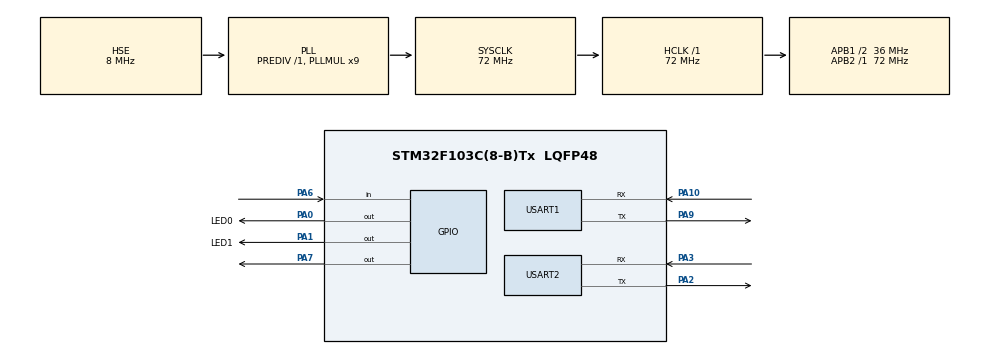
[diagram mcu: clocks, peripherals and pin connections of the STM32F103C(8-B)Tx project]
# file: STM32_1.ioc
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FREERTOS.Tasks01=defaultTask,24,128,StartDefaultTask,Default,NULL,Dynamic,NULL,NULL
Mcu.Family=STM32F1
Mcu.Name=STM32F103C(8-B)Tx
Mcu.Package=LQFP48
NVIC.PriorityGroup=NVIC_PRIORITYGROUP_4
NVIC.TIM2_IRQn=true\:15\:0\:false\:false\:true\:false\:false\:true\:true
NVIC.TimeBase=TIM2_IRQn
NVIC.TimeBaseIP=TIM2
NVIC.USART2_IRQn=true\:5\:0\:false\:false\:true\:true\:true\:true\:true
PA0-WKUP.GPIO_Label=LED0
PA0-WKUP.Signal=GPIO_Output
PA1.GPIO_Label=LED1
PA1.Signal=GPIO_Output
PA10.Mode=Asynchronous
PA10.Signal=USART1_RX
PA13.Mode=Serial_Wire
PA13.Signal=SYS_JTMS-SWDIO
PA14.Mode=Serial_Wire
PA14.Signal=SYS_JTCK-SWCLK
PA2.Mode=Asynchronous
PA2.Signal=USART2_TX
PA3.Mode=Asynchronous
PA3.Signal=USART2_RX
PA6.Signal=GPIO_Input
PA7.Signal=GPIO_Output
PA9.Mode=Asynchronous
PA9.Signal=USART1_TX
PD0-OSC_IN.Mode=HSE-External-Oscillator
PD0-OSC_IN.Signal=RCC_OSC_IN
PD1-OSC_OUT.Mode=HSE-External-Oscillator
PD1-OSC_OUT.Signal=RCC_OSC_OUT
ProjectManager.HeapSize=0x200
ProjectManager.StackSize=0x400
ProjectManager.TargetToolchain=MDK-ARM V5.32
RCC.AHBFreq_Value=72000000
RCC.APB1CLKDivider=RCC_HCLK_DIV2
RCC.APB1Freq_Value=36000000
RCC.APB1TimFreq_Value=72000000
RCC.APB2Freq_Value=72000000
RCC.APB2TimFreq_Value=72000000
RCC.HCLKFreq_Value=72000000
RCC.PLLMUL=RCC_PLL_MUL9
RCC.PLLSourceVirtual=RCC_PLLSOURCE_HSE
RCC.SYSCLKFreq_VALUE=72000000
RCC.SYSCLKSource=RCC_SYSCLKSOURCE_PLLCLK
RCC.USBFreq_Value=72000000
USART1.VirtualMode=VM_ASYNC
USART2.VirtualMode=VM_ASYNC
VP_FREERTOS_VS_CMSIS_V2.Mode=CMSIS_V2
VP_SYS_VS_tim2.Mode=TIM2
board=custom

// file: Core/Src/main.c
/* USER CODE BEGIN Header */
/**
  ******************************************************************************
  * @file           : main.c
  * @brief          : Main program body
  ******************************************************************************
  * @attention
  *
  * Copyright (c) 2026 STMicroelectronics.
  * All rights reserved.
  *
  * This software is licensed under terms that can be found in the LICENSE file
  * in the root directory of this software component.
  * If no LICENSE file comes with this software, it is provided AS-IS.
  *
  ******************************************************************************
  */
/* USER CODE END Header */
#include "main.h"
#include "cmsis_os.h"
#include "usart.h"
#include "gpio.h"

/* USER CODE BEGIN Includes */
#include "led.h"
#include "HC_SR04.h"
#include <stdio.h>
#include "tim3.h"
#include "filter.h"
#include "park_state.h"
#include "ai_parking.h"
#include "uart_comm.h"
/* USER CODE END Includes */

/* USER CODE BEGIN PTD */
ParkData_TypeDef ParkData;
float Filter_Distances[10] = {0}; // 环形缓冲区，存储最近10次滤波后的距离数据
uint8_t Filter_Distances_Index = 0; // 环形缓冲区索引，指向最新的滤波数据位置
/* USER CODE END PTD */

void SystemClock_Config(void);
void MX_FREERTOS_Init(void);

int main(void)
{

  /* MCU Configuration--------------------------------------------------------*/

  /* Reset of all peripherals, Initializes the Flash interface and the Systick. */
  HAL_Init();

  /* Configure the system clock */
  SystemClock_Config();

  /* Initialize all configured peripherals */
  // MX_GPIO_Init();
  MX_USART1_UART_Init();
  MX_USART2_UART_Init();
  /* USER CODE BEGIN 2 */
  LED_Init();
  HC_SR04_Init();
  TIM3_Init();
  Filter_Init();
  ParkState_Init();
  UART2_Comm_Init();
  /* USER CODE END 2 */

  /* Init scheduler */
  osKernelInitialize(); /* Call init function for freertos objects (in cmsis_os2.c) */
  MX_FREERTOS_Init();

  /* Start scheduler */
  osKernelStart();

  /* We should never get here as control is now taken by the scheduler */

  /* Infinite loop */
  while (1)
  {

  }
}

void SystemClock_Config(void)
{
  RCC_OscInitTypeDef RCC_OscInitStruct = {0};
  RCC_ClkInitTypeDef RCC_ClkInitStruct = {0};

  /** Initializes the RCC Oscillators according to the specified parameters
  * in the RCC_OscInitTypeDef structure.
  */
  RCC_OscInitStruct.OscillatorType = RCC_OSCILLATORTYPE_HSE;
  RCC_OscInitStruct.HSEState = RCC_HSE_ON;
  RCC_OscInitStruct.HSEPredivValue = RCC_HSE_PREDIV_DIV1;
  RCC_OscInitStruct.HSIState = RCC_HSI_ON;
  RCC_OscInitStruct.PLL.PLLState = RCC_PLL_ON;
  RCC_OscInitStruct.PLL.PLLSource = RCC_PLLSOURCE_HSE;
  RCC_OscInitStruct.PLL.PLLMUL = RCC_PLL_MUL9;
  if (HAL_RCC_OscConfig(&RCC_OscInitStruct) != HAL_OK)
  {
    Error_Handler();
  }

  /** Initializes the CPU, AHB and APB buses clocks
  */
  RCC_ClkInitStruct.ClockType = RCC_CLOCKTYPE_HCLK|RCC_CLOCKTYPE_SYSCLK
                              |RCC_CLOCKTYPE_PCLK1|RCC_CLOCKTYPE_PCLK2;
  RCC_ClkInitStruct.SYSCLKSource = RCC_SYSCLKSOURCE_PLLCLK;
  RCC_ClkInitStruct.AHBCLKDivider = RCC_SYSCLK_DIV1;
  RCC_ClkInitStruct.APB1CLKDivider = RCC_HCLK_DIV2;
  RCC_ClkInitStruct.APB2CLKDivider = RCC_HCLK_DIV1;

  if (HAL_RCC_ClockConfig(&RCC_ClkInitStruct, FLASH_LATENCY_2) != HAL_OK)
  {
    Error_Handler();
  }
}

void HAL_TIM_PeriodElapsedCallback(TIM_HandleTypeDef *htim)
{
  if (htim->Instance == TIM2)
  {
    HAL_IncTick();
  }
}

void Error_Handler(void)
{
  __disable_irq();
  while (1)
  {
  }
}

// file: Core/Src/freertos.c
/* USER CODE BEGIN Header */
/**
 ******************************************************************************
 * File Name          : freertos.c
 * Description        : Code for freertos applications
 ******************************************************************************
 * @attention
 *
 * Copyright (c) 2026 STMicroelectronics.
 * All rights reserved.
 *
 * This software is licensed under terms that can be found in the LICENSE file
 * in the root directory of this software component.
 * If no LICENSE file comes with this software, it is provided AS-IS.
 *
 ******************************************************************************
 */
/* USER CODE END Header */

#include "FreeRTOS.h"
#include "task.h"
#include "main.h"
#include "cmsis_os.h"

/* USER CODE BEGIN Includes */
#include "led.h"
#include "usart.h"
#include "HC_SR04.h"
#include "filter.h"
#include "park_state.h"
#include "ai_parking.h"
#include "task_sensor.h"
#include "task_park.h"
#include "task_uart.h"
// #include "FreeRTOSConfig.h"
/* USER CODE END Includes */

/* Definitions for defaultTask */
osThreadId_t defaultTaskHandle;
const osThreadAttr_t defaultTask_attributes = {
    .name = "defaultTask",
    .stack_size = 128 * 4,
    .priority = (osPriority_t)osPriorityNormal,
};

/* USER CODE BEGIN FunctionPrototypes */
osThreadId_t sensorTaskHandle;
const osThreadAttr_t sensorTask_attributes = {
    .name = "sensorTask",
    .stack_size = 128 * 4,
    .priority = (osPriority_t)osPriorityNormal,
};

osThreadId_t parkTaskHandle;
const osThreadAttr_t parkTask_attributes = {
    .name = "parkTask",
    .stack_size = 128 * 4,
    .priority = (osPriority_t)osPriorityBelowNormal7,
};

osThreadId_t UARTTaskHandle;
const osThreadAttr_t UARTTask_attributes = {
    .name = "UARTTask",
    .stack_size = 128 * 4,
    .priority = (osPriority_t)osPriorityBelowNormal6,
};

osThreadId_t lowPowerTaskHandle;
const osThreadAttr_t lowPowerTask_attributes = {
    .name = "lowPowerTask",
    .stack_size = 128 * 4,
    .priority = (osPriority_t)osPriorityBelowNormal5,
};

void Task_Sensor(void *argument);
void Task_Park(void *argument);
void Task_UART(void *argument);
void Task_LowPower(void *argument);
/* USER CODE END FunctionPrototypes */

void StartDefaultTask(void *argument);

void MX_FREERTOS_Init(void); /* (MISRA C 2004 rule 8.1) */

void MX_FREERTOS_Init(void)
{

  /* Create the thread(s) */
  /* creation of defaultTask */
  defaultTaskHandle = osThreadNew(StartDefaultTask, NULL, &defaultTask_attributes);

}

void StartDefaultTask(void *argument)
{
  /* USER CODE BEGIN StartDefaultTask */
  printf("Default task is running...\r\n");
  /* Infinite loop */
  /*进入临界区*/
  taskENTER_CRITICAL();
  /*创建任务*/
  sensorTaskHandle = osThreadNew(Task_Sensor, NULL, &sensorTask_attributes);
  parkTaskHandle = osThreadNew(Task_Park, NULL, &parkTask_attributes);
  UARTTaskHandle = osThreadNew(Task_UART, NULL, &UARTTask_attributes);
  lowPowerTaskHandle = osThreadNew(Task_LowPower, NULL, &lowPowerTask_attributes);

  printf("All tasks created.\r\n");
  /*退出临界区*/
  taskEXIT_CRITICAL();

  /*删除自身任务*/
  vTaskDelete(NULL);
  /* USER CODE END StartDefaultTask */
}

/* USER CODE BEGIN Application */
void Task_Sensor(void *argument)
{
  /* USER CODE BEGIN Task_Sensor */

  ParkData.raw_dist = 0;
  ParkData.filter_dist = 0;

  for (;;)
  {
    /* Sensor task code goes here */
    // 获取传感器数据
    get_sensor_data_task();
    printf("获取传感器数据: 原始距离=%.2f cm, 滤波后距离=%.2f cm\r\n", ParkData.raw_dist, ParkData.filter_dist);
    osDelay(100);
  }
  /* USER CODE END Task_Sensor */
}

void Task_Park(void *argument)
{
  /* USER CODE BEGIN Task_Park */
  for (;;)
  {
    /* Park task code goes here */
    printf("检测车位状态...\r\n");
    park_state_task();
    osDelay(100);
  }
  /* USER CODE END Task_Park */
}

void Task_UART(void *argument)
{
  /* USER CODE BEGIN Task_UART */
  for (;;)
  {
    /* UART task code goes here */
    printf("开始传输数据给ESP32...\r\n");
    send_parking_data_task(); // 发送当前车位状态
    osDelay(500);
  }
  /* USER CODE END Task_UART */
}

void Task_LowPower(void *argument)
{
  /* USER CODE BEGIN Task_LowPower */
  for (;;)
  {
    /* Low power task code goes here */
    // printf("低功耗模式，开始检测车位状态...\r\n");
    osDelay(1000);
  }
  /* USER CODE END Task_LowPower */
}
/* USER CODE END Application */
